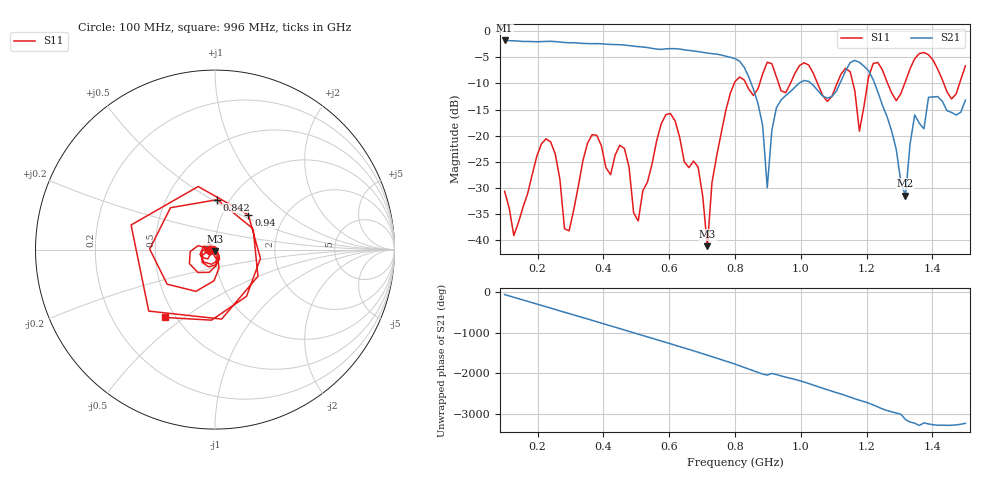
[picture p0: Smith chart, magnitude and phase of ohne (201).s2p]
! NanoVNA-App
! Date: 2025-09-25 14:22:22
! Start: 100MHz Stop: 1,5GHz Points: 101
! S-Parameter data: F S11 S21 S12 S22
# Hz S RI R 50
!  Frequency  S11_Real  S11_Imag  S21_Real  S21_Imag  S12_Real  S12_Imag  S22_Real  S22_Imag
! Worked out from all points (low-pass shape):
!   101 points, 100 MHz to 1.5 GHz, reference 50 ohm
!   highest |S21| = -1.79 dB at 100 MHz (marker M1); lowest = -31.4 dB at 1.318 GHz (marker M2)
!   |S21| within 3 dB of the highest: start of sweep to 771.4 MHz
!   lowest |S11| = -41.1 dB at 716 MHz (marker M3), VSWR 1.02, Z = 49.8 - j0.858 ohm
!   |S11| at or under -10 dB: start of sweep to 797.8 MHz; 833.2 MHz to 875 MHz (41.86 MHz wide, 4.9 % of centre); 1.051 GHz to 1.11 GHz (59.39 MHz wide, 5.5 % of centre) (the widest 3 of 7)
!   S12 and S22 are empty: the file has one direction only
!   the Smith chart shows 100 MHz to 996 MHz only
!   S11 on the Smith chart (normalised r, x): 100 MHz: 0.94, -0.01; 842 MHz: 0.88, +0.53; 940 MHz: 1.32, +0.55; 996 MHz: 0.44, -0.43
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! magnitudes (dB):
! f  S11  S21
! 100 MHz  -30.6  -1.8
! 128 MHz  -39.1  -1.9
! 226 MHz  -20.6  -2.0
! 296 MHz  -38.2  -2.2
! 338 MHz  -24.8  -2.4
! 464 MHz  -22.4  -2.7
! 506 MHz  -36.3  -3.0
! 576 MHz  -17.7  -3.5
! 688 MHz  -26.0  -3.9
! 716 MHz  -41.1  -4.2
! 800 MHz  -9.7  -5.3
! 842 MHz  -11.1  -8.8
! 898 MHz  -6.0  -29.9
! 940 MHz  -11.4  -13.2
! 996 MHz  -6.6  -9.9
! 1.038 GHz  -8.1  -10.4
! 1.178 GHz  -19.1  -6.0
! 1.22 GHz  -6.2  -9.3
! 1.276 GHz  -11.8  -19.1
! 1.318 GHz  -9.6  -31.4
! 1.346 GHz  -5.3  -16.0
! 1.5 GHz  -6.7  -13.2
